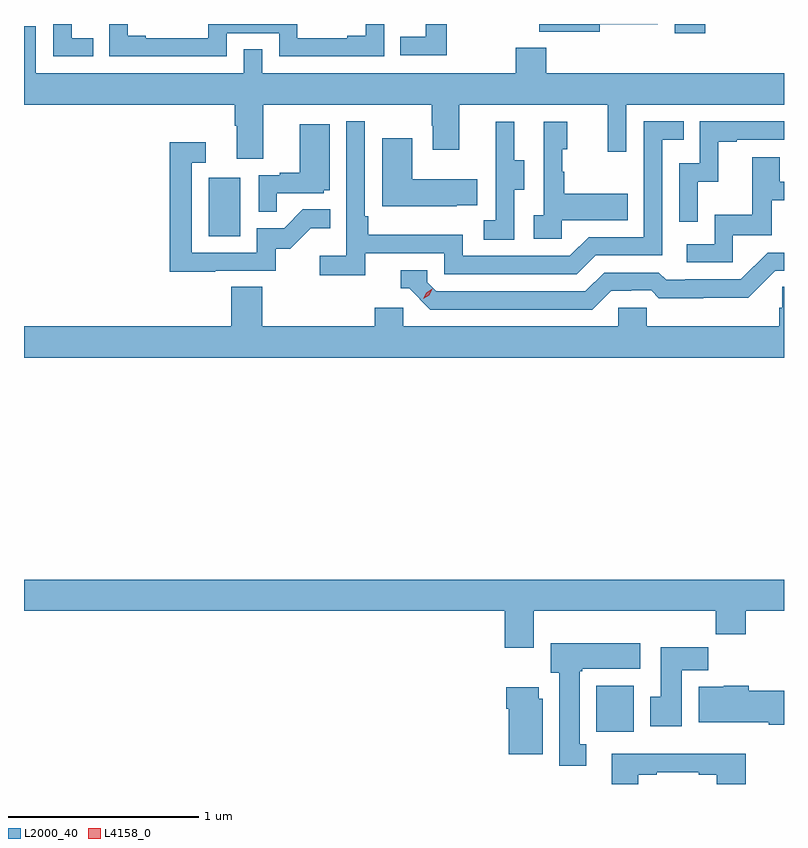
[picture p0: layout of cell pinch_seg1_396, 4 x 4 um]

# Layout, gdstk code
import gdstk
lib = gdstk.Library(unit=1e-6, precision=1e-09)
def R(c, l, rs):  # rectangles x0, y0, x1, y1
    for r in rs: c.add(gdstk.rectangle(r[:2], r[2:], *l))
def P(c, l, *ps):  # polygons
    for p in ps: c.add(gdstk.Polygon(p, *l))
L2000_40 = (2000, 40)
L4158_0 = (4158, 0)

pinch_seg1_396 = lib.new_cell('pinch_seg1_396')
R(pinch_seg1_396, L2000_40, [(1013.846,523.124,1014.043,523.366), (1011.806,525.732,1011.97,526.039), (1014.257,526.8,1014.418,526.848)])
P(pinch_seg1_396, L2000_40, [(1011.9,526.8),(1012.176,526.8),(1012.176,526.677),(1012.728,526.677),(1012.728,526.848),(1012.631,526.848),(1012.631,526.786),(1012.535,526.786),(1012.535,526.773),(1012.272,526.773),(1012.272,526.848),(1011.804,526.848),(1011.804,526.773),(1011.475,526.773),(1011.475,526.786),(1011.38,526.786),(1011.38,526.848),(1011.282,526.848),(1011.282,526.677),(1011.9,526.677)],
  [(1013.059,526.848),(1012.948,526.848),(1012.948,526.78),(1012.813,526.78),(1012.813,526.683),(1013.059,526.683)],
  [(1011.197,526.773),(1011.084,526.773),(1011.084,526.848),(1010.988,526.848),(1010.988,526.677),(1011.197,526.677)],
  [(1013.863,526.846),(1014.168,526.846),(1014.168,526.848),(1013.545,526.848),(1013.545,526.808),(1013.863,526.808)],
  [(1012.093,526.424),(1012.978,526.424),(1012.978,526.313),(1012.985,526.313),(1012.985,526.185),(1013.125,526.185),(1013.125,526.424),(1013.906,526.424),(1013.906,526.176),(1014.003,526.176),(1014.003,526.424),(1014.833,526.424),(1014.833,526.588),(1013.582,526.588),(1013.582,526.723),(1013.422,526.723),(1013.422,526.588),(1012.086,526.588),(1012.086,526.715),(1011.99,526.715),(1011.99,526.588),(1010.895,526.588),(1010.895,526.837),(1010.833,526.837),(1010.833,526.424),(1011.941,526.424),(1011.941,526.312),(1011.953,526.312),(1011.953,526.138),(1012.093,526.138)],
  [(1012.628,525.642),(1013.046,525.642),(1013.046,525.531),(1013.743,525.531),(1013.842,525.63),(1014.192,525.63),(1014.192,526.239),(1014.305,526.239),(1014.305,526.335),(1014.096,526.335),(1014.096,525.726),(1013.805,525.726),(1013.706,525.627),(1013.142,525.627),(1013.142,525.739),(1012.646,525.739),(1012.646,525.835),(1012.626,525.835),(1012.626,526.336),(1012.53,526.336),(1012.53,525.628),(1012.389,525.628),(1012.389,525.526),(1012.628,525.526)],
  [(1014.378,526.019),(1014.488,526.019),(1014.488,526.227),(1014.583,526.227),(1014.583,526.239),(1014.833,526.239),(1014.833,526.335),(1014.39,526.335),(1014.39,526.116),(1014.282,526.116),(1014.282,525.807),(1014.378,525.807)],
  [(1013.412,525.976),(1013.467,525.976),(1013.467,526.131),(1013.413,526.131),(1013.413,526.333),(1013.315,526.333),(1013.315,526.119),(1013.316,526.119),(1013.316,525.815),(1013.253,525.815),(1013.253,525.712),(1013.412,525.712)],
  [(1013.664,525.815),(1014.011,525.815),(1014.011,525.955),(1013.677,525.955),(1013.677,526.07),(1013.667,526.07),(1013.667,526.188),(1013.692,526.188),(1013.692,526.333),(1013.568,526.333),(1013.568,525.842),(1013.517,525.842),(1013.517,525.717),(1013.664,525.717)],
  [(1012.163,525.957),(1012.41,525.957),(1012.41,525.972),(1012.441,525.972),(1012.441,526.321),(1012.283,526.321),(1012.283,526.066),(1012.179,526.066),(1012.179,526.053),(1012.068,526.053),(1012.068,525.859),(1012.163,525.859)],
  [(1013.111,525.893),(1013.219,525.893),(1013.219,526.03),(1012.876,526.03),(1012.876,526.246),(1012.718,526.246),(1012.718,525.89),(1013.111,525.89)],
  [(1011.839,525.549),(1012.158,525.549),(1012.158,525.666),(1012.234,525.666),(1012.341,525.773),(1012.445,525.773),(1012.445,525.872),(1012.301,525.872),(1012.203,525.774),(1012.059,525.774),(1012.059,525.645),(1011.717,525.645),(1011.717,526.119),(1011.79,526.119),(1011.79,526.225),(1011.601,526.225),(1011.601,525.544),(1011.839,525.544)],
  [(1014.564,525.735),(1014.769,525.735),(1014.769,525.921),(1014.833,525.921),(1014.833,526.017),(1014.811,526.017),(1014.811,526.147),(1014.667,526.147),(1014.667,525.844),(1014.468,525.844),(1014.468,525.69),(1014.321,525.69),(1014.321,525.594),(1014.564,525.594)],
  [(1013.923,525.444),(1014.03,525.444),(1014.03,525.447),(1014.133,525.447),(1014.175,525.405),(1014.408,525.405),(1014.408,525.407),(1014.644,525.407),(1014.786,525.549),(1014.833,525.549),(1014.833,525.645),(1014.747,525.645),(1014.606,525.504),(1014.313,525.504),(1014.313,525.501),(1014.214,525.501),(1014.175,525.54),(1013.886,525.54),(1013.787,525.441),(1013.004,525.441),(1012.956,525.489),(1012.956,525.552),(1012.817,525.552),(1012.817,525.456),(1012.86,525.456),(1012.971,525.345),(1013.824,525.345)],
  [(1014.833,525.464),(1014.823,525.464),(1014.823,525.354),(1014.809,525.354),(1014.809,525.256),(1014.111,525.256),(1014.111,525.354),(1013.961,525.354),(1013.961,525.256),(1012.83,525.256),(1012.83,525.354),(1012.679,525.354),(1012.679,525.256),(1012.088,525.256),(1012.088,525.464),(1011.923,525.464),(1011.923,525.256),(1010.833,525.256),(1010.833,525.092),(1014.833,525.092)],
  [(1013.515,523.76),(1014.475,523.76),(1014.475,523.636),(1014.632,523.636),(1014.632,523.76),(1014.833,523.76),(1014.833,523.924),(1010.833,523.924),(1010.833,523.76),(1013.363,523.76),(1013.363,523.566),(1013.515,523.566)],
  [(1013.791,523.058),(1013.758,523.058),(1013.758,523.441),(1013.772,523.441),(1013.772,523.454),(1014.076,523.454),(1014.076,523.588),(1013.606,523.588),(1013.606,523.434),(1013.651,523.434),(1013.651,522.945),(1013.791,522.945)],
  [(1014.295,523.448),(1014.434,523.448),(1014.434,523.567),(1014.185,523.567),(1014.185,523.308),(1014.128,523.308),(1014.128,523.152),(1014.295,523.152)],
  [(1014.833,523.338),(1014.647,523.338),(1014.647,523.366),(1014.516,523.366),(1014.516,523.36),(1014.383,523.36),(1014.383,523.172),(1014.752,523.172),(1014.752,523.16),(1014.833,523.16)],
  [(1013.563,523.296),(1013.542,523.296),(1013.542,523.357),(1013.372,523.357),(1013.372,523.244),(1013.384,523.244),(1013.384,523.004),(1013.563,523.004)],
  [(1014.067,522.897),(1014.163,522.897),(1014.163,522.909),(1014.383,522.909),(1014.383,522.897),(1014.479,522.897),(1014.479,522.848),(1014.632,522.848),(1014.632,523.006),(1013.927,523.006),(1013.927,522.848),(1014.067,522.848)])
P(pinch_seg1_396, L4158_0, [(1012.935,525.401),(1012.935,525.402),(1012.95,525.434),(1012.981,525.454),(1012.981,525.454),(1012.981,525.454),(1012.965,525.421),(1012.935,525.401)])

lib.write_gds('pinch_seg1_396.gds')
